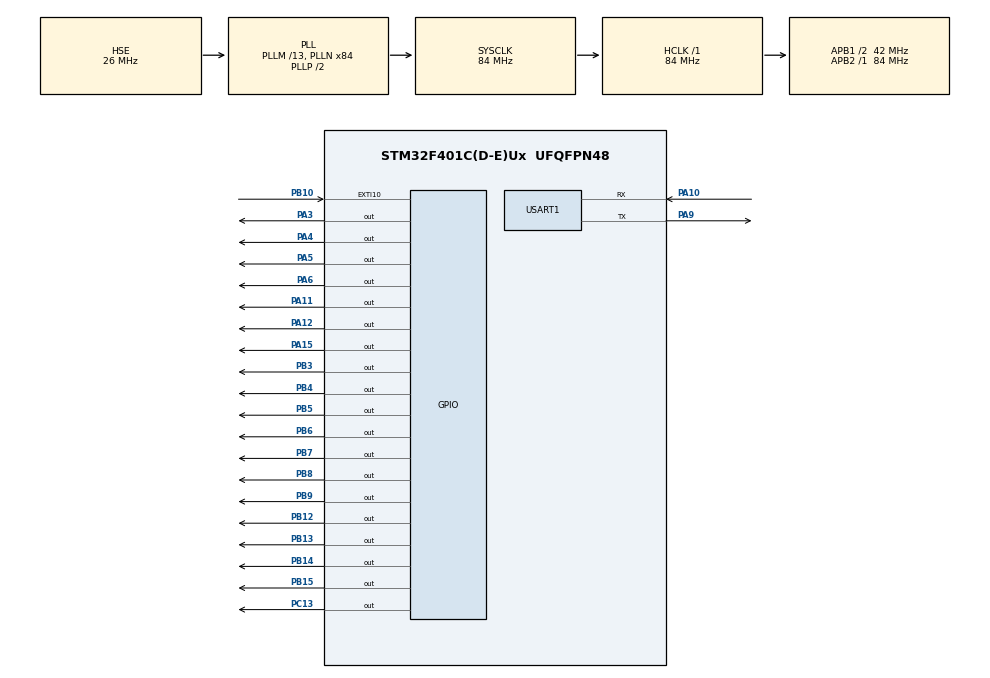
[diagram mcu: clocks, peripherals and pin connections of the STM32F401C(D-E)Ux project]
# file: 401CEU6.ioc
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Mcu.Family=STM32F4
Mcu.Name=STM32F401C(D-E)Ux
Mcu.Package=UFQFPN48
NVIC.EXTI15_10_IRQn=true\:0\:0\:false\:false\:true\:true\:true\:true
NVIC.PriorityGroup=NVIC_PRIORITYGROUP_4
NVIC.TIM1_UP_TIM10_IRQn=true\:0\:0\:false\:false\:true\:true\:true\:true
PA10.Mode=Asynchronous
PA10.Signal=USART1_RX
PA11.Signal=GPIO_Output
PA12.Signal=GPIO_Output
PA15.Signal=GPIO_Output
PA3.Signal=GPIO_Output
PA4.Signal=GPIO_Output
PA5.Signal=GPIO_Output
PA6.Signal=GPIO_Output
PA9.Mode=Asynchronous
PA9.Signal=USART1_TX
PB10.GPIO_ModeDefaultEXTI=GPIO_MODE_IT_FALLING
PB10.GPIO_PuPd=GPIO_PULLUP
PB10.Signal=GPXTI10
PB12.Signal=GPIO_Output
PB13.Signal=GPIO_Output
PB14.Signal=GPIO_Output
PB15.Signal=GPIO_Output
PB3.Signal=GPIO_Output
PB4.Signal=GPIO_Output
PB5.Signal=GPIO_Output
PB6.Signal=GPIO_Output
PB7.Signal=GPIO_Output
PB8.Signal=GPIO_Output
PB9.Signal=GPIO_Output
PC13-ANTI_TAMP.Signal=GPIO_Output
PH0\ -\ OSC_IN.Mode=HSE-External-Oscillator
PH0\ -\ OSC_IN.Signal=RCC_OSC_IN
PH1\ -\ OSC_OUT.Mode=HSE-External-Oscillator
PH1\ -\ OSC_OUT.Signal=RCC_OSC_OUT
ProjectManager.HeapSize=0x200
ProjectManager.StackSize=0x400
ProjectManager.TargetToolchain=STM32CubeIDE
RCC.48MHZClocksFreq_Value=42000000
RCC.AHBFreq_Value=84000000
RCC.APB1CLKDivider=RCC_HCLK_DIV2
RCC.APB1Freq_Value=42000000
RCC.APB1TimFreq_Value=84000000
RCC.APB2Freq_Value=84000000
RCC.APB2TimFreq_Value=84000000
RCC.CortexFreq_Value=84000000
RCC.HCLKFreq_Value=84000000
RCC.HSE_VALUE=26000000
RCC.HSI_VALUE=16000000
RCC.LSE_VALUE=32768
RCC.PLLM=13
RCC.PLLN=84
RCC.PLLSourceVirtual=RCC_PLLSOURCE_HSE
RCC.SYSCLKFreq_VALUE=84000000
RCC.SYSCLKSource=RCC_SYSCLKSOURCE_PLLCLK
RCC.VCOOutputFreq_Value=168000000
TIM10.Period=99
TIM10.Prescaler=83
USART1.VirtualMode=VM_ASYNC
VP_TIM10_VS_ClockSourceINT.Mode=Enable_Timer
board=custom

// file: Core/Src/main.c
/* USER CODE BEGIN Header */
/**
 ******************************************************************************
 * @file           : main.c
 * @brief          : Main program body
 ******************************************************************************
 * @attention
 *
 * Copyright (c) 2025 STMicroelectronics.
 * All rights reserved.
 *
 * This software is licensed under terms that can be found in the LICENSE file
 * in the root directory of this software component.
 * If no LICENSE file comes with this software, it is provided AS-IS.
 *
 ******************************************************************************
 */
/* USER CODE END Header */
#include "main.h"

/* USER CODE BEGIN Includes */
#include "irda.h"
#include "stdio.h"
#include "string.h"
#include "7seg.h"
/* USER CODE END Includes */

TIM_HandleTypeDef htim10;

UART_HandleTypeDef huart1;

/* USER CODE BEGIN PV */
unsigned char LED_Value;
int tim6_count;
int SevenSegmentValue = 25;
unsigned char LED_Value;
unsigned char LED_Values_spot_bumper[] = {0x81, 0x42, 0x24, 0x18, 0x24, 0x42};
int current_index = 0;
/* USER CODE END PV */

void SystemClock_Config(void);
static void MX_GPIO_Init(void);
static void MX_TIM10_Init(void);
static void MX_USART1_UART_Init(void);

/* USER CODE BEGIN 0 */
extern int command_ok;
extern unsigned char irda_cmd[4];
void DisplayLEDs(int mode)
{
  if (mode == 1)
  {
    LED_Value = (LED_Value >> 1) | (LED_Value << 7);
  }
  else if (mode == 2)
  {
    LED_Value = (LED_Value << 1) | (LED_Value >> 7);
  }
  else if (mode == 3)
  {
    LED_Value = ~LED_Value;
  }
  else if (mode == 4)
  {
    LED_Value = LED_Values_spot_bumper[current_index];
    current_index++;
    if (current_index >= 6)
    {
      current_index = 0;
    }
  }

  if (LED_Value & 0x80)
    HAL_GPIO_WritePin(GPIOB, GPIO_PIN_12, GPIO_PIN_SET);
  else
    HAL_GPIO_WritePin(GPIOB, GPIO_PIN_12, GPIO_PIN_RESET);

  if (LED_Value & 0x40)
    HAL_GPIO_WritePin(GPIOB, GPIO_PIN_13, GPIO_PIN_SET);
  else
    HAL_GPIO_WritePin(GPIOB, GPIO_PIN_13, GPIO_PIN_RESET);

  if (LED_Value & 0x20)
    HAL_GPIO_WritePin(GPIOB, GPIO_PIN_14, GPIO_PIN_SET);
  else
    HAL_GPIO_WritePin(GPIOB, GPIO_PIN_14, GPIO_PIN_RESET);

  if (LED_Value & 0x10)
    HAL_GPIO_WritePin(GPIOB, GPIO_PIN_15, GPIO_PIN_SET);
  else
    HAL_GPIO_WritePin(GPIOB, GPIO_PIN_15, GPIO_PIN_RESET);

  if (LED_Value & 0x8)
    HAL_GPIO_WritePin(GPIOA, GPIO_PIN_3, GPIO_PIN_SET);
  else
    HAL_GPIO_WritePin(GPIOA, GPIO_PIN_3, GPIO_PIN_RESET);

  if (LED_Value & 0x4)
    HAL_GPIO_WritePin(GPIOA, GPIO_PIN_4, GPIO_PIN_SET);
  else
    HAL_GPIO_WritePin(GPIOA, GPIO_PIN_4, GPIO_PIN_RESET);

  if (LED_Value & 0x2)
    HAL_GPIO_WritePin(GPIOA, GPIO_PIN_5, GPIO_PIN_SET);
  else
    HAL_GPIO_WritePin(GPIOA, GPIO_PIN_5, GPIO_PIN_RESET);

  if (LED_Value & 0x1)
    HAL_GPIO_WritePin(GPIOA, GPIO_PIN_6, GPIO_PIN_SET);
  else
    HAL_GPIO_WritePin(GPIOA, GPIO_PIN_6, GPIO_PIN_RESET);
}
/* USER CODE END 0 */

int main(void)
{

  /* MCU Configuration--------------------------------------------------------*/

  /* Reset of all peripherals, Initializes the Flash interface and the Systick. */
  HAL_Init();

  /* Configure the system clock */
  SystemClock_Config();

  /* Initialize all configured peripherals */
  MX_GPIO_Init();
  MX_TIM10_Init();
  MX_USART1_UART_Init();
  /* USER CODE BEGIN 2 */
  HAL_TIM_Base_Start_IT(&htim10);
  Set7SegDisplayValue(SevenSegmentValue);
  command_ok = 0;
  tim6_count = 0;
  /* USER CODE END 2 */

  /* Infinite loop */
  /* USER CODE BEGIN WHILE */
  LED_Value = 1;

  while (1)
  {
    /* USER CODE END WHILE */
    Run7SegDisplay();
    /* USER CODE BEGIN 3 */
    //	  HAL_Delay(500);
    //	  HAL_GPIO_TogglePin(GPIOC, GPIO_PIN_13);
    //	  HAL_Delay(500);
    //	 	 DisplayLEDs(1);
    HAL_Delay(5);
    if (command_ok)
    {

      char buf[256];
      IrDecode();
      int decimal_value = irda_cmd[2];
      Set7SegDisplayValue(decimal_value);
      Run7SegDisplay();
      //	  		  for (int i=0;i <=100;i++){
      //	  			  if (decimal_value==i){
      //	  				 HAL_GPIO_WritePin(GPIOA, GPIO_PIN_11, GPIO_PIN_RESET);
      //	  				 HAL_Delay(500);
      //	  				 for (int j=0; j <i/3;j++){
      //	  					HAL_Delay(500);
      //	  					HAL_GPIO_TogglePin(GPIOA, GPIO_PIN_11);
      //	  					HAL_Delay(500);
      //	  				 }

      //	  				LED_Value=0xff;
      //	  					  	for (int i=0; i<=8;i++){
      //	  					  			  DisplayLEDs(3);
      //	  					  	HAL_Delay(100);
      //	  					  	}

      //	  			  }
      //	  		  }
      //	  		  if (decimal_value == 66){
      //	  			  LED_Value=1;
      //	  			  for (int i=0; i<=15;i++){
      //	  			  DisplayLEDs(1);
      //	  			  HAL_Delay(100);
      //	  			  }
      //	  		  }
      //			  if (decimal_value == 67){
      //		  			  LED_Value=1;
      //		  			  for (int i=0; i<=15;i++){
      //		  			  DisplayLEDs(1);
      //		  			  HAL_Delay(100);
      //		  			  }
      //		  		  }
      //			  if (decimal_value == 68){
      //		  			  LED_Value=1;
      //		  			  for (int i=0; i<=15;i++){
      //		  			  DisplayLEDs(1);
      //		  			  HAL_Delay(100);
      //		  			  }
      //		  		  }
      if (decimal_value == 69)
      {
        LED_Value = 1;
        for (int i = 0; i <= 15; i++)
        {
          DisplayLEDs(1);
          HAL_Delay(100);
        }
        LED_Value = 0;
        DisplayLEDs(1);
        Set7SegDisplayValue(decimal_value);
        Run7SegDisplay();
      }
      //			  if (decimal_value == 70){
      //		  			  LED_Value=1;
      //		  			  for (int i=0; i<=15;i++){
      //		  			  DisplayLEDs(1);
      //		  			  HAL_Delay(100);
      //		  			  }
      //		  		  }
      if (decimal_value == 70)
      {
        LED_Value = 1;
        for (int i = 0; i <= 14; i++)
        {
          DisplayLEDs(2);
          HAL_Delay(100);
          Set7SegDisplayValue(decimal_value);
          Run7SegDisplay();
        }
        LED_Value = 0;
        DisplayLEDs(1);
      }
      if (decimal_value == 71)
      {
        Set7SegDisplayValue(decimal_value);
        Run7SegDisplay();
        LED_Value = 0xff;
        for (int i = 0; i <= 4; i++)
        {
          DisplayLEDs(3);
          HAL_Delay(100);
        }
        LED_Value = 0;
        DisplayLEDs(1);
      }
      if (decimal_value == 68 || decimal_value == 67)
      {
        Set7SegDisplayValue(decimal_value);
        Run7SegDisplay();
        LED_Value = 0x81;
        for (int i = 0; i <= 12; i++)
        {
          DisplayLEDs(4);
          HAL_Delay(100);
        }
        LED_Value = 0;
        DisplayLEDs(1);
      }

      if (decimal_value == 28)
      {
        HAL_GPIO_TogglePin(GPIOC, GPIO_PIN_13);
      }
      sprintf(buf, "%02x%02x%02x%02x\n", irda_cmd[0], irda_cmd[1], irda_cmd[2], irda_cmd[3]);
      // Assuming irda_cmd is an array of strings (char* irda_cmd[])

      HAL_UART_Transmit(&huart1, (const uint8_t *)buf, strlen(buf), 2);
      command_ok = 0;
    }
  }
  /* USER CODE END 3 */
}

void SystemClock_Config(void)
{
  RCC_OscInitTypeDef RCC_OscInitStruct = {0};
  RCC_ClkInitTypeDef RCC_ClkInitStruct = {0};

  /** Configure the main internal regulator output voltage
   */
  __HAL_RCC_PWR_CLK_ENABLE();
  __HAL_PWR_VOLTAGESCALING_CONFIG(PWR_REGULATOR_VOLTAGE_SCALE2);

  /** Initializes the RCC Oscillators according to the specified parameters
   * in the RCC_OscInitTypeDef structure.
   */
  RCC_OscInitStruct.OscillatorType = RCC_OSCILLATORTYPE_HSE;
  RCC_OscInitStruct.HSEState = RCC_HSE_ON;
  RCC_OscInitStruct.PLL.PLLState = RCC_PLL_ON;
  RCC_OscInitStruct.PLL.PLLSource = RCC_PLLSOURCE_HSE;
  RCC_OscInitStruct.PLL.PLLM = 13;
  RCC_OscInitStruct.PLL.PLLN = 84;
  RCC_OscInitStruct.PLL.PLLP = RCC_PLLP_DIV2;
  RCC_OscInitStruct.PLL.PLLQ = 4;
  if (HAL_RCC_OscConfig(&RCC_OscInitStruct) != HAL_OK)
  {
    Error_Handler();
  }

  /** Initializes the CPU, AHB and APB buses clocks
   */
  RCC_ClkInitStruct.ClockType = RCC_CLOCKTYPE_HCLK | RCC_CLOCKTYPE_SYSCLK | RCC_CLOCKTYPE_PCLK1 | RCC_CLOCKTYPE_PCLK2;
  RCC_ClkInitStruct.SYSCLKSource = RCC_SYSCLKSOURCE_PLLCLK;
  RCC_ClkInitStruct.AHBCLKDivider = RCC_SYSCLK_DIV1;
  RCC_ClkInitStruct.APB1CLKDivider = RCC_HCLK_DIV2;
  RCC_ClkInitStruct.APB2CLKDivider = RCC_HCLK_DIV1;

  if (HAL_RCC_ClockConfig(&RCC_ClkInitStruct, FLASH_LATENCY_2) != HAL_OK)
  {
    Error_Handler();
  }
}

static void MX_TIM10_Init(void)
{

  htim10.Instance = TIM10;
  htim10.Init.Prescaler = 83;
  htim10.Init.CounterMode = TIM_COUNTERMODE_UP;
  htim10.Init.Period = 99;
  htim10.Init.ClockDivision = TIM_CLOCKDIVISION_DIV1;
  htim10.Init.AutoReloadPreload = TIM_AUTORELOAD_PRELOAD_DISABLE;
  if (HAL_TIM_Base_Init(&htim10) != HAL_OK)
  {
    Error_Handler();
  }
}

static void MX_USART1_UART_Init(void)
{

  huart1.Instance = USART1;
  huart1.Init.BaudRate = 115200;
  huart1.Init.WordLength = UART_WORDLENGTH_8B;
  huart1.Init.StopBits = UART_STOPBITS_1;
  huart1.Init.Parity = UART_PARITY_NONE;
  huart1.Init.Mode = UART_MODE_TX_RX;
  huart1.Init.HwFlowCtl = UART_HWCONTROL_NONE;
  huart1.Init.OverSampling = UART_OVERSAMPLING_16;
  if (HAL_UART_Init(&huart1) != HAL_OK)
  {
    Error_Handler();
  }
}

static void MX_GPIO_Init(void)
{
  GPIO_InitTypeDef GPIO_InitStruct = {0};

  /* GPIO Ports Clock Enable */
  __HAL_RCC_GPIOC_CLK_ENABLE();
  __HAL_RCC_GPIOH_CLK_ENABLE();
  __HAL_RCC_GPIOA_CLK_ENABLE();
  __HAL_RCC_GPIOB_CLK_ENABLE();

  /*Configure GPIO pin Output Level */
  HAL_GPIO_WritePin(GPIOC, GPIO_PIN_13, GPIO_PIN_RESET);

  /*Configure GPIO pin Output Level */
  HAL_GPIO_WritePin(GPIOA, GPIO_PIN_3 | GPIO_PIN_4 | GPIO_PIN_5 | GPIO_PIN_6 | GPIO_PIN_11 | GPIO_PIN_12 | GPIO_PIN_15, GPIO_PIN_RESET);

  /*Configure GPIO pin Output Level */
  HAL_GPIO_WritePin(GPIOB, GPIO_PIN_12 | GPIO_PIN_13 | GPIO_PIN_14 | GPIO_PIN_15 | GPIO_PIN_3 | GPIO_PIN_4 | GPIO_PIN_5 | GPIO_PIN_6 | GPIO_PIN_7 | GPIO_PIN_8 | GPIO_PIN_9, GPIO_PIN_RESET);

  /*Configure GPIO pin : PC13 */
  GPIO_InitStruct.Pin = GPIO_PIN_13;
  GPIO_InitStruct.Mode = GPIO_MODE_OUTPUT_PP;
  GPIO_InitStruct.Pull = GPIO_NOPULL;
  GPIO_InitStruct.Speed = GPIO_SPEED_FREQ_LOW;
  HAL_GPIO_Init(GPIOC, &GPIO_InitStruct);

  /*Configure GPIO pins : PA3 PA4 PA5 PA6
                           PA11 PA12 PA15 */
  GPIO_InitStruct.Pin = GPIO_PIN_3 | GPIO_PIN_4 | GPIO_PIN_5 | GPIO_PIN_6 | GPIO_PIN_11 | GPIO_PIN_12 | GPIO_PIN_15;
  GPIO_InitStruct.Mode = GPIO_MODE_OUTPUT_PP;
  GPIO_InitStruct.Pull = GPIO_NOPULL;
  GPIO_InitStruct.Speed = GPIO_SPEED_FREQ_LOW;
  HAL_GPIO_Init(GPIOA, &GPIO_InitStruct);

  /*Configure GPIO pin : PB10 */
  GPIO_InitStruct.Pin = GPIO_PIN_10;
  GPIO_InitStruct.Mode = GPIO_MODE_IT_FALLING;
  GPIO_InitStruct.Pull = GPIO_PULLUP;
  HAL_GPIO_Init(GPIOB, &GPIO_InitStruct);

  /*Configure GPIO pins : PB12 PB13 PB14 PB15
                           PB3 PB4 PB5 PB6
                           PB7 PB8 PB9 */
  GPIO_InitStruct.Pin = GPIO_PIN_12 | GPIO_PIN_13 | GPIO_PIN_14 | GPIO_PIN_15 | GPIO_PIN_3 | GPIO_PIN_4 | GPIO_PIN_5 | GPIO_PIN_6 | GPIO_PIN_7 | GPIO_PIN_8 | GPIO_PIN_9;
  GPIO_InitStruct.Mode = GPIO_MODE_OUTPUT_PP;
  GPIO_InitStruct.Pull = GPIO_NOPULL;
  GPIO_InitStruct.Speed = GPIO_SPEED_FREQ_LOW;
  HAL_GPIO_Init(GPIOB, &GPIO_InitStruct);

  /* EXTI interrupt init*/
  HAL_NVIC_SetPriority(EXTI15_10_IRQn, 0, 0);
  HAL_NVIC_EnableIRQ(EXTI15_10_IRQn);

}

void Error_Handler(void)
{
  __disable_irq();
  while (1)
  {
  }
}
